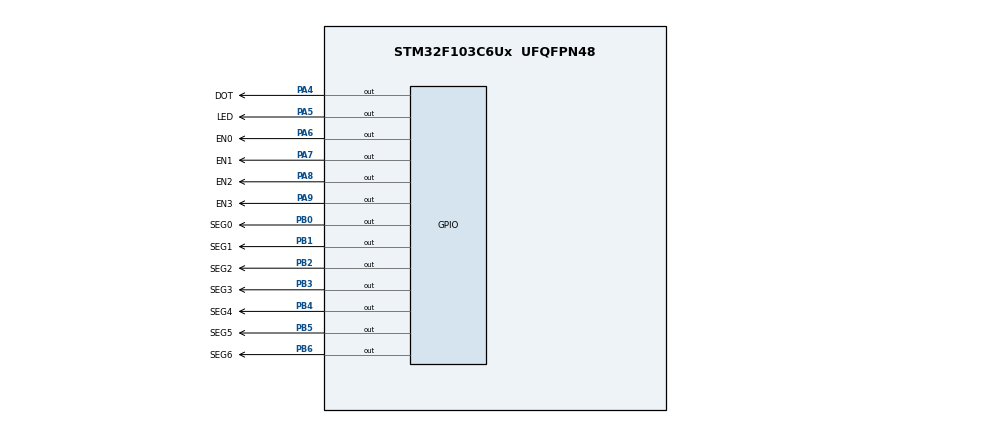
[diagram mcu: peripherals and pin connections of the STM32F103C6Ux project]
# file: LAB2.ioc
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Mcu.Family=STM32F1
Mcu.Name=STM32F103C6Ux
Mcu.Package=UFQFPN48
NVIC.PriorityGroup=NVIC_PRIORITYGROUP_4
NVIC.TIM2_IRQn=true\:0\:0\:false\:false\:true\:true\:true\:true
PA4.GPIO_Label=DOT
PA4.Signal=GPIO_Output
PA5.GPIO_Label=LED
PA5.Signal=GPIO_Output
PA6.GPIO_Label=EN0
PA6.Signal=GPIO_Output
PA7.GPIO_Label=EN1
PA7.Signal=GPIO_Output
PA8.GPIO_Label=EN2
PA8.Signal=GPIO_Output
PA9.GPIO_Label=EN3
PA9.Signal=GPIO_Output
PB0.GPIO_Label=SEG0
PB0.Signal=GPIO_Output
PB1.GPIO_Label=SEG1
PB1.Signal=GPIO_Output
PB2.GPIO_Label=SEG2
PB2.Signal=GPIO_Output
PB3.GPIO_Label=SEG3
PB3.Signal=GPIO_Output
PB4.GPIO_Label=SEG4
PB4.Signal=GPIO_Output
PB5.GPIO_Label=SEG5
PB5.Signal=GPIO_Output
PB6.GPIO_Label=SEG6
PB6.Signal=GPIO_Output
ProjectManager.HeapSize=0x200
ProjectManager.StackSize=0x400
ProjectManager.TargetToolchain=STM32CubeIDE
RCC.APB1Freq_Value=8000000
RCC.APB2Freq_Value=8000000
TIM2.Period=9
TIM2.Prescaler=7999
VP_SYS_VS_ND.Mode=No_Debug
VP_TIM2_VS_ClockSourceINT.Mode=Internal
board=custom

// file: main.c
/* USER CODE BEGIN Header */
/**
  ******************************************************************************
  * @file           : main.c
  * @brief          : Main program body
  ******************************************************************************
  * @attention
  *
  * <h2><center>&copy; Copyright (c) 2022 STMicroelectronics.
  * All rights reserved.</center></h2>
  *
  * This software component is licensed by ST under BSD 3-Clause license,
  * the "License"; You may not use this file except in compliance with the
  * License. You may obtain a copy of the License at:
  *                        opensource.org/licenses/BSD-3-Clause
  *
  ******************************************************************************
  */
/* USER CODE END Header */
#include "main.h"

TIM_HandleTypeDef htim2;

void SystemClock_Config(void);
static void MX_GPIO_Init(void);
static void MX_TIM2_Init(void);

/* USER CODE BEGIN 0 */
void display7SEG(int num) {
    // Reset all segments to off (PB0 to PB6 -> logic 1)
    HAL_GPIO_WritePin(GPIOB, GPIO_PIN_0, GPIO_PIN_SET); // Segment A
    HAL_GPIO_WritePin(GPIOB, GPIO_PIN_1, GPIO_PIN_SET); // Segment B
    HAL_GPIO_WritePin(GPIOB, GPIO_PIN_2, GPIO_PIN_SET); // Segment C
    HAL_GPIO_WritePin(GPIOB, GPIO_PIN_3, GPIO_PIN_SET); // Segment D
    HAL_GPIO_WritePin(GPIOB, GPIO_PIN_4, GPIO_PIN_SET); // Segment E
    HAL_GPIO_WritePin(GPIOB, GPIO_PIN_5, GPIO_PIN_SET); // Segment F
    HAL_GPIO_WritePin(GPIOB, GPIO_PIN_6, GPIO_PIN_SET); // Segment G

    // Turn on the necessary segments based on the input number
    switch (num) {
        case 0:
            HAL_GPIO_WritePin(GPIOB, GPIO_PIN_0, GPIO_PIN_RESET); // A
            HAL_GPIO_WritePin(GPIOB, GPIO_PIN_1, GPIO_PIN_RESET); // B
            HAL_GPIO_WritePin(GPIOB, GPIO_PIN_2, GPIO_PIN_RESET); // C
            HAL_GPIO_WritePin(GPIOB, GPIO_PIN_3, GPIO_PIN_RESET); // D
            HAL_GPIO_WritePin(GPIOB, GPIO_PIN_4, GPIO_PIN_RESET); // E
            HAL_GPIO_WritePin(GPIOB, GPIO_PIN_5, GPIO_PIN_RESET); // F
            break;
        case 1:
            HAL_GPIO_WritePin(GPIOB, GPIO_PIN_1, GPIO_PIN_RESET); // B
            HAL_GPIO_WritePin(GPIOB, GPIO_PIN_2, GPIO_PIN_RESET); // C
            break;
        case 2:
            HAL_GPIO_WritePin(GPIOB, GPIO_PIN_0, GPIO_PIN_RESET); // A
            HAL_GPIO_WritePin(GPIOB, GPIO_PIN_1, GPIO_PIN_RESET); // B
            HAL_GPIO_WritePin(GPIOB, GPIO_PIN_3, GPIO_PIN_RESET); // D
            HAL_GPIO_WritePin(GPIOB, GPIO_PIN_4, GPIO_PIN_RESET); // E
            HAL_GPIO_WritePin(GPIOB, GPIO_PIN_6, GPIO_PIN_RESET); // G
            break;
        case 3:
            HAL_GPIO_WritePin(GPIOB, GPIO_PIN_0, GPIO_PIN_RESET); // A
            HAL_GPIO_WritePin(GPIOB, GPIO_PIN_1, GPIO_PIN_RESET); // B
            HAL_GPIO_WritePin(GPIOB, GPIO_PIN_2, GPIO_PIN_RESET); // C
            HAL_GPIO_WritePin(GPIOB, GPIO_PIN_3, GPIO_PIN_RESET); // D
            HAL_GPIO_WritePin(GPIOB, GPIO_PIN_6, GPIO_PIN_RESET); // G
            break;
        case 4:
            HAL_GPIO_WritePin(GPIOB, GPIO_PIN_1, GPIO_PIN_RESET); // B
            HAL_GPIO_WritePin(GPIOB, GPIO_PIN_2, GPIO_PIN_RESET); // C
            HAL_GPIO_WritePin(GPIOB, GPIO_PIN_5, GPIO_PIN_RESET); // F
            HAL_GPIO_WritePin(GPIOB, GPIO_PIN_6, GPIO_PIN_RESET); // G
            break;
        case 5:
            HAL_GPIO_WritePin(GPIOB, GPIO_PIN_0, GPIO_PIN_RESET); // A
            HAL_GPIO_WritePin(GPIOB, GPIO_PIN_2, GPIO_PIN_RESET); // C
            HAL_GPIO_WritePin(GPIOB, GPIO_PIN_3, GPIO_PIN_RESET); // D
            HAL_GPIO_WritePin(GPIOB, GPIO_PIN_5, GPIO_PIN_RESET); // F
            HAL_GPIO_WritePin(GPIOB, GPIO_PIN_6, GPIO_PIN_RESET); // G
            break;
        case 6:
            HAL_GPIO_WritePin(GPIOB, GPIO_PIN_0, GPIO_PIN_RESET); // A
            HAL_GPIO_WritePin(GPIOB, GPIO_PIN_2, GPIO_PIN_RESET); // C
            HAL_GPIO_WritePin(GPIOB, GPIO_PIN_3, GPIO_PIN_RESET); // D
            HAL_GPIO_WritePin(GPIOB, GPIO_PIN_4, GPIO_PIN_RESET); // E
            HAL_GPIO_WritePin(GPIOB, GPIO_PIN_5, GPIO_PIN_RESET); // F
            HAL_GPIO_WritePin(GPIOB, GPIO_PIN_6, GPIO_PIN_RESET); // G
            break;
        case 7:
            HAL_GPIO_WritePin(GPIOB, GPIO_PIN_0, GPIO_PIN_RESET); // A
            HAL_GPIO_WritePin(GPIOB, GPIO_PIN_1, GPIO_PIN_RESET); // B
            HAL_GPIO_WritePin(GPIOB, GPIO_PIN_2, GPIO_PIN_RESET); // C
            break;
        case 8:
            HAL_GPIO_WritePin(GPIOB, GPIO_PIN_0, GPIO_PIN_RESET); // A
            HAL_GPIO_WritePin(GPIOB, GPIO_PIN_1, GPIO_PIN_RESET); // B
            HAL_GPIO_WritePin(GPIOB, GPIO_PIN_2, GPIO_PIN_RESET); // C
            HAL_GPIO_WritePin(GPIOB, GPIO_PIN_3, GPIO_PIN_RESET); // D
            HAL_GPIO_WritePin(GPIOB, GPIO_PIN_4, GPIO_PIN_RESET); // E
            HAL_GPIO_WritePin(GPIOB, GPIO_PIN_5, GPIO_PIN_RESET); // F
            HAL_GPIO_WritePin(GPIOB, GPIO_PIN_6, GPIO_PIN_RESET); // G
            break;
        case 9:
            HAL_GPIO_WritePin(GPIOB, GPIO_PIN_0, GPIO_PIN_RESET); // A
            HAL_GPIO_WritePin(GPIOB, GPIO_PIN_1, GPIO_PIN_RESET); // B
            HAL_GPIO_WritePin(GPIOB, GPIO_PIN_2, GPIO_PIN_RESET); // C
            HAL_GPIO_WritePin(GPIOB, GPIO_PIN_3, GPIO_PIN_RESET); // D
            HAL_GPIO_WritePin(GPIOB, GPIO_PIN_5, GPIO_PIN_RESET); // F
            HAL_GPIO_WritePin(GPIOB, GPIO_PIN_6, GPIO_PIN_RESET); // G
            break;
        default:
            break;
    }
}

const int MAX_LED = 4;
int index_led = 0;
int led_buffer[4] = {0, 1, 2, 3};
void update7SEG(int index){
	index = index % MAX_LED;
	switch (index){
	case 0:
		HAL_GPIO_WritePin(GPIOA, GPIO_PIN_6, GPIO_PIN_RESET);
		HAL_GPIO_WritePin(GPIOA, GPIO_PIN_7, GPIO_PIN_SET);
		HAL_GPIO_WritePin(GPIOA, GPIO_PIN_8, GPIO_PIN_SET);
		HAL_GPIO_WritePin(GPIOA, GPIO_PIN_9, GPIO_PIN_SET);
		display7SEG(led_buffer[0]);
		break;
	case 1:
		HAL_GPIO_WritePin(GPIOA, GPIO_PIN_6, GPIO_PIN_SET);
		HAL_GPIO_WritePin(GPIOA, GPIO_PIN_7, GPIO_PIN_RESET);
		HAL_GPIO_WritePin(GPIOA, GPIO_PIN_8, GPIO_PIN_SET);
		HAL_GPIO_WritePin(GPIOA, GPIO_PIN_9, GPIO_PIN_SET);
		display7SEG(led_buffer[1]);
	    break;
	case 2:
		HAL_GPIO_WritePin(GPIOA, GPIO_PIN_6, GPIO_PIN_SET);
		HAL_GPIO_WritePin(GPIOA, GPIO_PIN_7, GPIO_PIN_SET);
		HAL_GPIO_WritePin(GPIOA, GPIO_PIN_8, GPIO_PIN_RESET);
		HAL_GPIO_WritePin(GPIOA, GPIO_PIN_9, GPIO_PIN_SET);
		display7SEG(led_buffer[2]);
		break;
	case 3:
		HAL_GPIO_WritePin(GPIOA, GPIO_PIN_6, GPIO_PIN_SET);
		HAL_GPIO_WritePin(GPIOA, GPIO_PIN_7, GPIO_PIN_SET);
		HAL_GPIO_WritePin(GPIOA, GPIO_PIN_8, GPIO_PIN_SET);
		HAL_GPIO_WritePin(GPIOA, GPIO_PIN_9, GPIO_PIN_RESET);
		display7SEG(led_buffer[3]);
		break;
	default:
		break;
	}
}
void updateClockBuffer(int hour, int minute, int* led_buffer){
	led_buffer[0] = hour / 10;
	led_buffer[1] = hour % 10;
	led_buffer[2] = minute / 10;
	led_buffer[3] = minute % 10;
}

int timer0_counter = 0;
int timer0_flag = 0;
int timer1_counter = 0;
int timer1_flag = 0;

int TIMER_CYCLE = 10;
void setTimer0(int duration){
	timer0_counter = duration / TIMER_CYCLE;
	timer0_flag = 0;
}
void setTimer1(int duration){
	timer1_counter = duration / TIMER_CYCLE;
	timer1_flag = 0;
}
void timerRun(){
	if(timer0_counter > 0){
		timer0_counter--;
		if(timer0_counter == 0){
			timer0_flag = 1;
		}
	}
	if(timer1_counter > 0){
		timer1_counter--;
		if(timer1_counter == 0){
			timer1_flag = 1;
		}
	}
}
/* USER CODE END 0 */

int main(void)
{

  /* MCU Configuration--------------------------------------------------------*/

  /* Reset of all peripherals, Initializes the Flash interface and the Systick. */
  HAL_Init();

  /* Configure the system clock */
  SystemClock_Config();

  /* Initialize all configured peripherals */
  MX_GPIO_Init();
  MX_TIM2_Init();
  /* USER CODE BEGIN 2 */
  HAL_TIM_Base_Start_IT(&htim2);
  /* USER CODE END 2 */

  /* Infinite loop */
  /* USER CODE BEGIN WHILE */
  int hour = 14, minute = 30, second = 30;
  setTimer0(1000);
  setTimer1(250);
  while (1)
  {
	  if(timer0_flag == 1){
		  second++;
		  if(second >= 60){
			  second = 0;
			  minute++;
		  }
		  if(minute >= 60){
			  minute = 0;
			  hour++;
		  }
		  if(hour >= 24){
			  hour = 0;
		  }
		  updateClockBuffer(hour, minute, led_buffer);
		  HAL_GPIO_TogglePin(GPIOA, GPIO_PIN_4);
		  HAL_GPIO_TogglePin(GPIOA, GPIO_PIN_5);
		  setTimer0(1000);
	  }
	  if(timer1_flag == 1){
		  index_led++;
		  update7SEG(index_led);
		  setTimer1(250);
	  }
    /* USER CODE END WHILE */
  }
}

void SystemClock_Config(void)
{
  RCC_OscInitTypeDef RCC_OscInitStruct = {0};
  RCC_ClkInitTypeDef RCC_ClkInitStruct = {0};

  /** Initializes the RCC Oscillators according to the specified parameters
  * in the RCC_OscInitTypeDef structure.
  */
  RCC_OscInitStruct.OscillatorType = RCC_OSCILLATORTYPE_HSI;
  RCC_OscInitStruct.HSIState = RCC_HSI_ON;
  RCC_OscInitStruct.HSICalibrationValue = RCC_HSICALIBRATION_DEFAULT;
  RCC_OscInitStruct.PLL.PLLState = RCC_PLL_NONE;
  if (HAL_RCC_OscConfig(&RCC_OscInitStruct) != HAL_OK)
  {
    Error_Handler();
  }
  /** Initializes the CPU, AHB and APB buses clocks
  */
  RCC_ClkInitStruct.ClockType = RCC_CLOCKTYPE_HCLK|RCC_CLOCKTYPE_SYSCLK
                              |RCC_CLOCKTYPE_PCLK1|RCC_CLOCKTYPE_PCLK2;
  RCC_ClkInitStruct.SYSCLKSource = RCC_SYSCLKSOURCE_HSI;
  RCC_ClkInitStruct.AHBCLKDivider = RCC_SYSCLK_DIV1;
  RCC_ClkInitStruct.APB1CLKDivider = RCC_HCLK_DIV1;
  RCC_ClkInitStruct.APB2CLKDivider = RCC_HCLK_DIV1;

  if (HAL_RCC_ClockConfig(&RCC_ClkInitStruct, FLASH_LATENCY_0) != HAL_OK)
  {
    Error_Handler();
  }
}

static void MX_TIM2_Init(void)
{

  TIM_ClockConfigTypeDef sClockSourceConfig = {0};
  TIM_MasterConfigTypeDef sMasterConfig = {0};

  htim2.Instance = TIM2;
  htim2.Init.Prescaler = 7999;
  htim2.Init.CounterMode = TIM_COUNTERMODE_UP;
  htim2.Init.Period = 9;
  htim2.Init.ClockDivision = TIM_CLOCKDIVISION_DIV1;
  htim2.Init.AutoReloadPreload = TIM_AUTORELOAD_PRELOAD_DISABLE;
  if (HAL_TIM_Base_Init(&htim2) != HAL_OK)
  {
    Error_Handler();
  }
  sClockSourceConfig.ClockSource = TIM_CLOCKSOURCE_INTERNAL;
  if (HAL_TIM_ConfigClockSource(&htim2, &sClockSourceConfig) != HAL_OK)
  {
    Error_Handler();
  }
  sMasterConfig.MasterOutputTrigger = TIM_TRGO_RESET;
  sMasterConfig.MasterSlaveMode = TIM_MASTERSLAVEMODE_DISABLE;
  if (HAL_TIMEx_MasterConfigSynchronization(&htim2, &sMasterConfig) != HAL_OK)
  {
    Error_Handler();
  }

}

static void MX_GPIO_Init(void)
{
  GPIO_InitTypeDef GPIO_InitStruct = {0};

  /* GPIO Ports Clock Enable */
  __HAL_RCC_GPIOA_CLK_ENABLE();
  __HAL_RCC_GPIOB_CLK_ENABLE();

  /*Configure GPIO pin Output Level */
  HAL_GPIO_WritePin(GPIOA, DOT_Pin|LED_Pin|EN0_Pin|EN1_Pin
                          |EN2_Pin|EN3_Pin, GPIO_PIN_RESET);

  /*Configure GPIO pin Output Level */
  HAL_GPIO_WritePin(GPIOB, SEG0_Pin|SEG1_Pin|SEG2_Pin|SEG3_Pin
                            |SEG4_Pin|SEG5_Pin|SEG6_Pin, GPIO_PIN_RESET);

  /*Configure GPIO pins : DOT_Pin RED_Pin EN0_Pin EN1_Pin
                           EN2_Pin EN3_Pin */
  GPIO_InitStruct.Pin = DOT_Pin|LED_Pin|EN0_Pin|EN1_Pin
                          |EN2_Pin|EN3_Pin;
  GPIO_InitStruct.Mode = GPIO_MODE_OUTPUT_PP;
  GPIO_InitStruct.Pull = GPIO_NOPULL;
  GPIO_InitStruct.Speed = GPIO_SPEED_FREQ_LOW;
  HAL_GPIO_Init(GPIOA, &GPIO_InitStruct);

  /*Configure GPIO pins : SEG_a_Pin SEG_b_Pin SEG_c_Pin SEG_d_Pin
                           SEG_e_Pin SEG_f_Pin SEG_g_Pin */
  GPIO_InitStruct.Pin = SEG0_Pin|SEG1_Pin|SEG2_Pin|SEG3_Pin
                          |SEG4_Pin|SEG5_Pin|SEG6_Pin;
  GPIO_InitStruct.Mode = GPIO_MODE_OUTPUT_PP;
  GPIO_InitStruct.Pull = GPIO_NOPULL;
  GPIO_InitStruct.Speed = GPIO_SPEED_FREQ_LOW;
  HAL_GPIO_Init(GPIOB, &GPIO_InitStruct);

}

/* USER CODE BEGIN 4 */
void HAL_TIM_PeriodElapsedCallback(TIM_HandleTypeDef * htim){
	timerRun();
}
/* USER CODE END 4 */

void Error_Handler(void)
{
  __disable_irq();
  while (1)
  {
  }
}

/************************ (C) COPYRIGHT STMicroelectronics *****END OF FILE****/
